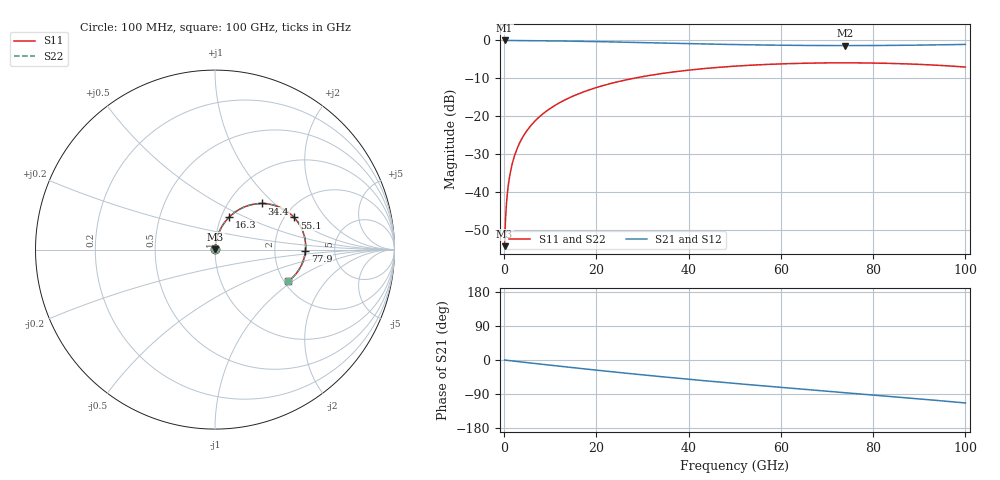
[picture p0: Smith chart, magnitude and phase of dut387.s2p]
! Touchstone file exported from HFSS 2026.1.0
!  File:  C:/ffzhzh/LocalFiles/Ansys_Project_Files/temp_train_RDL_387_1783503824_9504.aedt
!  Generated:  05:45:05 PM Jul  8, 2026
!  Design:  RDL
!  Project:  temp_train_RDL_387_1783503824_9504
! Variables:
!  h_bsmrdl = 2um
!  h_ox = 20um
!  h_rdl = 5um
!  h_sub = 80um
!  h_tmrdl = 4.67um
!  h_tsv = 80um
!  h_via = 3um
!  l_bsmrdl = 300um
!  l_sub = 773.06um
!  l_tmrdl = 373.06um
!  m_sub = 200um
!  pitch = 54.86um
!  r_tsv = 6um
!  s_tmrdl = 10um
!  w_bsmrdl = 18um
!  w_sub = 500um
!  w_tmrdl = 27.57um
!  x_tsv_center1 = 386.845um
!  x_tsv_center2 = 704.845um
!  x_tsv_center3 = 1105.475um
!  x_tsv_center4 = 1423.475um
!  x_tsv_center5 = 1824.105um
!  x_tsv_center6 = 2142.105um
# GHz S MA R 50.000000
! Terminal data exported
! Port[1] = TM_RDL1_1_T1
! Port[2] = TM_RDL1_1_T2
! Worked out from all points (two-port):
!   1000 points, 100 MHz to 100 GHz, reference 50 ohm
!   highest |S21| = -0.01 dB at 100 MHz (marker M1); lowest = -1.4 dB at 74 GHz (marker M2)
!   |S21| within 3 dB of the highest: start of sweep to end of sweep
!   lowest |S11| = -54.4 dB at 100 MHz (marker M3), VSWR 1.00, Z = 50.1 + j0.147 ohm
!   |S11| at or under -10 dB: start of sweep to 28.16 GHz
!   |S22| runs from -54.4 to -5.9 dB; largest |S21 - S12| = 1.5e-14
!   S11 on the Smith chart (normalised r, x): 100 MHz: 1.00, +0.00; 16.3 GHz: 1.09, +0.41; 34.4 GHz: 1.42, +0.84; 55.1 GHz: 2.24, +1.04; 77.9 GHz: 3.03, -0.05; 100 GHz: 2.10, -0.92
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0.1  0.001909 50.0  0.9988 -0.1  0.9988 -0.1  0.001909 50.0
! Gamma 0 0 0 0
! Port Impedance 50 0 50 0
0.8  0.01085 80.6  0.9984 -1.1  0.9984 -1.1  0.01085 80.6
1.1  0.01479 82.1  0.9983 -1.6  0.9983 -1.6  0.01479 82.1
1.4  0.01873 82.8  0.9981 -2.0  0.9981 -2.0  0.01873 82.8
1.9  0.02529 83.1  0.9978 -2.7  0.9978 -2.7  0.02529 83.1
2.4  0.03181 82.9  0.9974 -3.4  0.9974 -3.4  0.03181 82.9
3.8  0.04984 81.7  0.9961 -5.3  0.9961 -5.3  0.04984 81.6
5.9  0.07628 79.2  0.9936 -8.2  0.9936 -8.2  0.07628 79.2
8.6  0.1094 75.9  0.9897 -11.8  0.9897 -11.8  0.1094 75.9
12.1  0.1511 71.6  0.9834 -16.5  0.9834 -16.5  0.1511 71.5
16.3  0.1988 66.3  0.9742 -22.0  0.9742 -22.0  0.1987 66.3
16.8  0.2042 65.7  0.973 -22.7  0.973 -22.7  0.2042 65.6
24.2  0.2801 56.5  0.9531 -32.1  0.9531 -32.1  0.2801 56.5
33.4  0.3591 45.6  0.9258 -43.2  0.9258 -43.2  0.3591 45.6
34.4  0.3666 44.5  0.9228 -44.4  0.9228 -44.4  0.3666 44.4
50.1  0.4572 27.3  0.8814 -61.9  0.8814 -61.9  0.4572 27.2
55.1  0.4758 22.1  0.8715 -67.1  0.8715 -67.1  0.4758 22.0
66.7  0.5015 10.4  0.8571 -79.0  0.8571 -79.0  0.5014 10.3
74  0.5056 3.1  0.8545 -86.4  0.8545 -86.4  0.5056 3.0
77.9  0.5041 -0.7  0.8553 -90.3  0.8553 -90.3  0.504 -0.8
83.4  0.4974 -6.2  0.8588 -95.9  0.8588 -95.9  0.4974 -6.3
100  0.4443 -23.3  0.8857 -113.4  0.8857 -113.4  0.4443 -23.5
